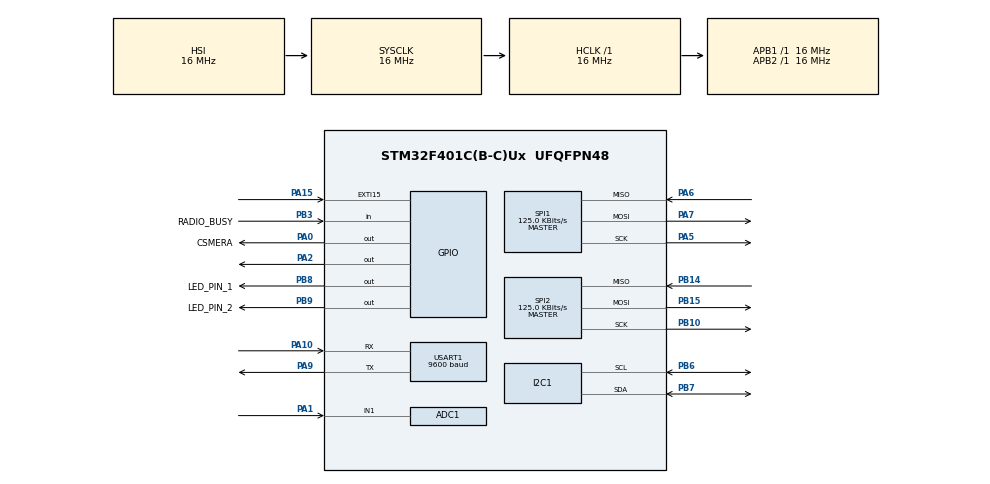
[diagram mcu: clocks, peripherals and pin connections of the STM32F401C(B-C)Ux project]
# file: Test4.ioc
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ADC1.Channel-0\#ChannelRegularConversion=ADC_CHANNEL_1
ADC1.NbrOfConversionFlag=1
ADC1.Rank-0\#ChannelRegularConversion=1
ADC1.SamplingTime-0\#ChannelRegularConversion=ADC_SAMPLETIME_3CYCLES
ADC1.master=1
Mcu.Family=STM32F4
Mcu.Name=STM32F401C(B-C)Ux
Mcu.Package=UFQFPN48
NVIC.EXTI15_10_IRQn=true\:0\:0\:false\:false\:true\:true\:true\:true
NVIC.PriorityGroup=NVIC_PRIORITYGROUP_4
PA0-WKUP.GPIO_Label=CSMERA
PA0-WKUP.PinState=GPIO_PIN_SET
PA0-WKUP.Signal=GPIO_Output
PA1.Signal=ADCx_IN1
PA10.Mode=Asynchronous
PA10.Signal=USART1_RX
PA15.Signal=GPXTI15
PA2.GPIO_ModeDefaultOutputPP=GPIO_MODE_OUTPUT_OD
PA2.GPIO_PuPd=GPIO_NOPULL
PA2.PinState=GPIO_PIN_SET
PA2.Signal=GPIO_Output
PA5.Mode=Full_Duplex_Master
PA5.Signal=SPI1_SCK
PA6.Mode=Full_Duplex_Master
PA6.Signal=SPI1_MISO
PA7.Mode=Full_Duplex_Master
PA7.Signal=SPI1_MOSI
PA9.Mode=Asynchronous
PA9.Signal=USART1_TX
PB10.Mode=Full_Duplex_Master
PB10.Signal=SPI2_SCK
PB14.Mode=Full_Duplex_Master
PB14.Signal=SPI2_MISO
PB15.Mode=Full_Duplex_Master
PB15.Signal=SPI2_MOSI
PB3.GPIO_Label=RADIO_BUSY
PB3.Signal=GPIO_Input
PB6.Mode=I2C
PB6.Signal=I2C1_SCL
PB7.Mode=I2C
PB7.Signal=I2C1_SDA
PB8.GPIO_Label=LED_PIN_1
PB8.Signal=GPIO_Output
PB9.GPIO_Label=LED_PIN_2
PB9.Signal=GPIO_Output
PH0\ -\ OSC_IN.Mode=HSE-External-Oscillator
PH0\ -\ OSC_IN.Signal=RCC_OSC_IN
PH1\ -\ OSC_OUT.Mode=HSE-External-Oscillator
PH1\ -\ OSC_OUT.Signal=RCC_OSC_OUT
ProjectManager.HeapSize=0x400
ProjectManager.StackSize=0x800
ProjectManager.TargetToolchain=STM32CubeIDE
RCC.AHBFreq_Value=16000000
RCC.APB1Freq_Value=16000000
RCC.APB2Freq_Value=16000000
RCC.CortexFreq_Value=16000000
RCC.HSE_VALUE=25000000
RCC.HSI_VALUE=16000000
RCC.LSE_VALUE=32768
RCC.SYSCLKFreq_VALUE=16000000
RCC.VCOOutputFreq_Value=192000000
SH.ADCx_IN1.0=ADC1_IN1,IN1
SPI1.BaudRatePrescaler=SPI_BAUDRATEPRESCALER_128
SPI1.CalculateBaudRate=125.0 KBits/s
SPI1.Direction=SPI_DIRECTION_2LINES
SPI1.Mode=SPI_MODE_MASTER
SPI1.VirtualType=VM_MASTER
SPI2.BaudRatePrescaler=SPI_BAUDRATEPRESCALER_128
SPI2.CalculateBaudRate=125.0 KBits/s
SPI2.Direction=SPI_DIRECTION_2LINES
SPI2.Mode=SPI_MODE_MASTER
SPI2.VirtualType=VM_MASTER
USART1.BaudRate=9600
USART1.VirtualMode=VM_ASYNC
VP_FATFS_VS_Generic.Mode=User_defined
board=custom

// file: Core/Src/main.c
/* USER CODE BEGIN Header */
/**
  ******************************************************************************
  * @file           : main.c
  * @brief          : Main program body
  ******************************************************************************
  */
/* USER CODE END Header */
#include "main.h"
#include "adc.h"
#include "fatfs.h"
#include "i2c.h"
#include "spi.h"
#include "usart.h"
#include "gpio.h"

/* USER CODE BEGIN Includes */
#include "serial_print.h"
#include "mcp23017.h"
#include "bmi088.h"
#include "lis3mdl.h"
#include "bmp388.h"
#include "lora278.h"
#include "dwt_delay.h"
#include "ds18b20.h"
#include "sd_mcp23017.h"
#include "pca9685.h"
#include "servo_control.h"
#include "motor_control.h"
#include "MadgwickAHRS.h"
#include <math.h>
#include <stdio.h>
#include <stdlib.h>
#include <string.h>
#include <stdbool.h>
extern uint8_t LoRa_ReadReg(uint8_t addr);
extern void LoRa_WriteReg(uint8_t addr, uint8_t val);
/* USER CODE END Includes */

/* USER CODE BEGIN PTD */
#pragma pack(push, 1)
typedef struct {
    uint16_t  node_id;
    int16_t  accel_x;
    int16_t  accel_y;
    int16_t  accel_z;
    int16_t  gyro_x;
    int16_t  gyro_y;
    int16_t  gyro_z;
    int16_t  mag_x;
    int16_t  mag_y;
    int16_t  mag_z;
    int16_t  altitude;
    int16_t  temperature;
    uint16_t  photo;
    uint8_t  state_flags;
    uint8_t  checksum;
} TelemetryPacket_t;
#pragma pack(pop)

#pragma pack(push, 1)
typedef struct {
    uint32_t magic;
    float    ideal_pitch;

    // Калибровка магнитометра (Hard & Soft Iron)
    float    mag_offset[3];
    float    mag_scale[3];

    // Калибровка гироскопа
    float    gyro_offset[3];

    // Коэффициенты ПИД-регулятора
    float    kp_r, ki_r, kd_r; // Roll
    float    kp_p, ki_p, kd_p; // Pitch
    float    kp_y, ki_y, kd_y; // Yaw
} GliderConfig_t;
#pragma pack(pop)

#pragma pack(push, 1)
typedef struct {
    uint16_t target_id;
    uint8_t  cmd_id;
    int16_t  param;
    uint8_t  checksum;
} CommandPacket_t;
#pragma pack(pop)

// Значения, которые запишутся на SD, если файла config.dat еще нет
GliderConfig_t glider_cfg = {
    .magic = 0xDEADBEEF,
    .ideal_pitch = -5.0f,
    .mag_offset = {0.0f, 0.0f, 0.0f},
    .mag_scale  = {1.0f, 1.0f, 1.0f},
    .gyro_offset = {0.0f, 0.0f, 0.0f},
    .kp_r = 1.0f, .ki_r = 0.01f, .kd_r = 0.5f,
    .kp_p = 1.0f, .ki_p = 0.01f, .kd_p = 0.5f,
    .kp_y = 1.0f, .ki_y = 0.01f, .kd_y = 0.5f
};
/* USER CODE END PTD */

/* USER CODE BEGIN PV */
volatile bool _packetReady = false;
volatile int _pendingLength = 0;
extern ADC_HandleTypeDef hadc1;

// ID вашего устройства
uint16_t MY_NODE_ID = 0xBBB9;
bool bmi_ok = false;
bool lis_ok = false;
bool bmp_ok = false;
bool lora_ready = false; // Флаг готовности LoRa для логов
bool apogee_reached = false;

// Глобальный буфер для хранения самых свежих данных
TelemetryPacket_t current_pkt;
Servo_HandleTypeDef myServo1;
Servo_HandleTypeDef myServo2;

volatile bool lora_irq_triggered = false;
Motor_HandleTypeDef motorE;
Motor_HandleTypeDef motorF;
// Базовое давление на земле для планера (по умолчанию стандартное 1013.25 гПа)
float ground_pressure = 1013.25f;

// Этапы полета
typedef enum {
    STATE_IDLE = 0,      // На столе (Безопасный режим, автоматика отключена)
    STATE_WAIT = 1,      // В ракете (Взведен, ждет выброса)
    STATE_DROP = 2,      // Выпадание
    STATE_RECOVERY = 3,  // Выход из падения
    STATE_GLIDE = 4,     // Планирование
    STATE_PARACHUTE = 5  // Раскрытие парашюта
} State_t;

State_t current_state = STATE_IDLE;
uint32_t stage_timer = 0; // Таймер для отсчета времени стадий

// Настройка порога фоторезистора
#define PHOTO_THRESHOLD 1000

float target_roll = 0, target_pitch = -5.0f, target_yaw = 0;
float prev_err_roll = 0, prev_err_pitch = 0, prev_err_yaw = 0;
float integral_roll = 0, integral_pitch = 0, integral_yaw = 0;

float kp_r = 1.0f, ki_r = 0.01f, kd_r = 0.5f;
float kp_p = 1.0f, ki_p = 0.01f, kd_p = 0.5f;
float kp_y = 1.0f, ki_y = 0.01f, kd_y = 0.5f;

float roll = 0, pitch = 0, yaw = 0;
uint32_t motorE_stop_time = 0;
bool motorE_active = false;
uint32_t motorF_stop_time = 0;
bool motorF_active = false;
/* USER CODE END PV */

void SystemClock_Config(void);

/* USER CODE BEGIN 0 */
void OnLoRaPacketReceived(int packetSize) {
    _pendingLength = packetSize;
    _packetReady = true;
}

/* Функции логирования */
void Send_Log(const char* msg) {
    Serial_Printf(&huart1, "%s\r\n", msg);
    if (lora_ready) {
        uint8_t lora_buf[128];
        uint16_t* id_ptr = (uint16_t*)lora_buf;
        *id_ptr = MY_NODE_ID;
        int len = snprintf((char*)(lora_buf + 2), sizeof(lora_buf) - 2, "LOG: %s", msg);
        LoRa_BeginPacket(0);
        LoRa_Write(lora_buf, len + 2);
        LoRa_EndPacket(0);
        LoRa_Receive(0);
        HAL_Delay(50);
    }
}
/* USER CODE END 0 */

int main(void)
{

  /* MCU Configuration--------------------------------------------------------*/

  /* Reset of all peripherals, Initializes the Flash interface and the Systick. */
  HAL_Init();

  /* Configure the system clock */
  SystemClock_Config();

  /* Initialize all configured peripherals */
  MX_GPIO_Init();
  MX_ADC1_Init();
  MX_I2C1_Init();
  MX_SPI1_Init();
  MX_SPI2_Init();
  MX_USART1_UART_Init();
  MX_FATFS_Init();
  /* USER CODE BEGIN 2 */
  DWT_Init();
  HAL_GPIO_WritePin(LED_PIN_1_GPIO_Port, LED_PIN_1_Pin, 1);
  HAL_GPIO_WritePin(GPIOA, GPIO_PIN_0, GPIO_PIN_SET); // Камера по умолчанию
  Serial_Printf(&huart1, "\r\n--- Sensors & LoRa INIT ---\r\n");

  if (MCP23017_Init() != HAL_OK) {
	  Serial_Printf(&huart1, "MCP23017 Expander NOT FOUND!\r\n");
  } else {
	  Serial_Printf(&huart1, "MCP23017 OK\r\n");
  }
  MCP23017_WriteAll(0xFFFF);
  PCA9685_Init(50);
  Motor_Init(&motorE, 11, 12);
  Motor_Init(&motorF, 14, 13);

reinit:
  LoRa_Init();
  if (!LoRa_Begin(441000000)) {
	  Serial_Printf(&huart1, "LoRa init failed!\r\n");
	  MCP23017_WritePin(LORA_RST_PIN_MCP, 0);
	  HAL_Delay(500);
	  MCP23017_WritePin(LORA_RST_PIN_MCP, 1);
	  goto reinit;
  } else {
	  LoRa_SetSpreadingFactor(7);
	  LoRa_SetSignalBandwidth(250000);
	  LoRa_SetCodingRate4(5);
	  LoRa_EnableCrc();
	  LoRa_SetSyncWord(0x12);
	  LoRa_SetTxPower(15, 1);
	  LoRa_Receive(0);
	  lora_ready = true;
	  Send_Log("LoRa Ready!");
  }

  if (HAL_I2C_IsDeviceReady(&hi2c1, PCA9685_I2C_ADDR << 1, 3, 100) == HAL_OK) {
	  Send_Log("PCA9685 is online!");
  } else {
	  Send_Log("ERROR: PCA9685 NOT found!");
  }

  Servo_Init(&myServo1, 7);
  Servo_Init(&myServo2, 4);

  if (BMI088_Init(&hspi1) != HAL_OK) {
	  Send_Log("BMI088 init failed!");
	  bmi_ok = false;
  } else {
	  Send_Log("BMI088 OK. Ready.");
	  bmi_ok = true;
  }

  if (LIS3MDL_Init() != 1) {
	  Send_Log("LIS3MDL init failed!");
	  lis_ok = false;
  } else {
	  Send_Log("LIS3MDL OK");
	  lis_ok = true;
  }

  if (BMP388_Init() != BMP388_OK) {
	  Send_Log("BMP388 init failed!");
	  bmp_ok = false;
  } else {
	  Send_Log("BMP388 OK");
	  bmp_ok = true;
  }

  if (SD_MCP_Init(&hspi2) == 0) {
  	Send_Log("[MAIN] SD карта готова.");

  	GliderConfig_t temp_cfg;
  	if (SD_MCP_LoadConfig("0:/config.dat", &temp_cfg, sizeof(temp_cfg)) == 0 && temp_cfg.magic == 0xDEADBEEF) {
  		glider_cfg = temp_cfg;
  		Send_Log("[MAIN] Config loaded from SD!");
  	} else {
  		Send_Log("[MAIN] Config old/missing! Creating default...");
  		SD_MCP_SaveConfig("0:/config.dat", &glider_cfg, sizeof(glider_cfg));
  	}

  	if (glider_cfg.mag_scale[0] == 0.0f) glider_cfg.mag_scale[0] = 1.0f;
  	if (glider_cfg.mag_scale[1] == 0.0f) glider_cfg.mag_scale[1] = 1.0f;
  	if (glider_cfg.mag_scale[2] == 0.0f) glider_cfg.mag_scale[2] = 1.0f;

  	LIS3MDL_SetCalibration(
  		glider_cfg.mag_offset[0], glider_cfg.mag_offset[1], glider_cfg.mag_offset[2],
  		glider_cfg.mag_scale[0],  glider_cfg.mag_scale[1],  glider_cfg.mag_scale[2]
  	);

  	BMI088_SetGyroCalibration(
  		glider_cfg.gyro_offset[0],
  		glider_cfg.gyro_offset[1],
  		glider_cfg.gyro_offset[2]
  	);

  	target_pitch = glider_cfg.ideal_pitch;
  	kp_r = glider_cfg.kp_r; ki_r = glider_cfg.ki_r; kd_r = glider_cfg.kd_r;
  	kp_p = glider_cfg.kp_p; ki_p = glider_cfg.ki_p; kd_p = glider_cfg.kd_p;
  	kp_y = glider_cfg.kp_y; ki_y = glider_cfg.ki_y; kd_y = glider_cfg.kd_y;

  	if (SD_MCP_OpenFile("0:/data.csv") == 0) {
  		Send_Log("[MAIN] Файл data.csv открыт для записи.");
  	} else {
  		Send_Log("[MAIN] Ошибка открытия data.csv!");
  	}
  } else {
  	Send_Log("[MAIN] Критическая ошибка инициализации SD.");
  }

  HAL_ADC_Start(&hadc1);

  uint32_t last_poll_tick = HAL_GetTick();
  uint32_t last_sd_tick   = HAL_GetTick();
  uint32_t last_tx_tick   = HAL_GetTick()-50;

  uint32_t ds18b20_timer = 0;
  uint8_t ds18b20_state = 0;
  float current_temp_ds = 0.0f;
  uint16_t photo_val = 0;

  memset(&current_pkt, 0, sizeof(current_pkt));
  current_pkt.node_id = MY_NODE_ID;

  /* USER CODE END 2 */

  /* Infinite loop */
  /* USER CODE BEGIN WHILE */
  BMI088_Raw_t raw;
  BMI088_Physical_t phys;
  uint32_t photo_trigger_time = 0;
  bool photo_is_light = false;
  bool igniter_active = false;
  Send_Log("INIT DONE. Entering main loop...");

  while (1) {
		// --- 1. ПРЯМОЙ ОПРОС РЕГИСТРОВ SX1278 (КОМАНДЫ) ---
		uint8_t irqFlags = LoRa_ReadReg(0x12);
		if (irqFlags & 0x40) {
			LoRa_WriteReg(0x12, irqFlags);
			if ((irqFlags & 0x20) == 0) {
				int pSize = LoRa_ReadReg(0x13);
				if (pSize == sizeof(CommandPacket_t)) {
					LoRa_WriteReg(0x0D, LoRa_ReadReg(0x10));
					CommandPacket_t rx_cmd;
					uint8_t *ptr = (uint8_t*)&rx_cmd;
					for (int i = 0; i < sizeof(CommandPacket_t); i++) ptr[i] = LoRa_ReadReg(0x00);

					if (rx_cmd.target_id == MY_NODE_ID) {
						uint8_t calc_crc = 0;
						for (int i = 0; i < sizeof(CommandPacket_t) - 1; i++) calc_crc ^= ptr[i];

						if (calc_crc == rx_cmd.checksum) {
							char cmd_log[64];
							snprintf(cmd_log, sizeof(cmd_log), "RX CMD | ID: 0x%02X, Param: %d", rx_cmd.cmd_id, rx_cmd.param);
							Send_Log(cmd_log);

							switch (rx_cmd.cmd_id) {
								case 0x10: Servo_SetAngle(&myServo1, rx_cmd.param); break;
								case 0x11: Servo_SetAngle(&myServo2, rx_cmd.param); break;
								case 0x16:
									Servo_SetAngle(&myServo1, rx_cmd.param);
									// Зеркалим угол для второй сервы относительно 90 градусов
									Servo_SetAngle(&myServo2, 180 - rx_cmd.param);
									break;

								// --- НОВЫЕ КОМАНДЫ ПЕРЕФЕРИИ ---

								case 0x13: // Ручное управление мотором крыльев (Motor F)
									{
										int16_t time_ms = rx_cmd.param;
										if (time_ms > 0) {
											Motor_SetSpeed(&motorF, 100); // Полная мощность
											motorF_stop_time = HAL_GetTick() + time_ms;
											motorF_active = true;
											Send_Log("Motor F: Deploy started");
										}
										else {
											Motor_SetSpeed(&motorF, 0);
											motorF_active = false;
											Send_Log("Motor F: Stopped");
										}
									}
									break;

								case 0x14: // Для стиков геймпада (управление скоростью)
									Motor_SetSpeed(&motorE, rx_cmd.param);
									break;

								case 0x15: // Для кнопок интерфейса (асинхронный импульс по времени)
								{
									int16_t time_ms = rx_cmd.param;
									if (time_ms > 0) {
										Motor_SetSpeed(&motorE, 100);
										motorE_stop_time = HAL_GetTick() + time_ms;
										motorE_active = true;
										Send_Log("Motor E: Right started");
									}
									else if (time_ms < 0) {
										Motor_SetSpeed(&motorE, -100);
										motorE_stop_time = HAL_GetTick() + (-time_ms);
										motorE_active = true;
										Send_Log("Motor E: Left started");
									}
									else {
										Motor_SetSpeed(&motorE, 0);
										motorE_active = false;
									}
								}
								break;

								// Калибровки датчиков
								case 0x30:
									Send_Log("Calibrating Gyro (Keep glider STILL!)...");
									BMI088_CalibrateGyro(&hspi1, 200);
									BMI088_GetGyroCalibration(&glider_cfg.gyro_offset[0], &glider_cfg.gyro_offset[1], &glider_cfg.gyro_offset[2]);
									if (SD_MCP_SaveConfig("0:/config.dat", &glider_cfg, sizeof(glider_cfg)) == 0) {
										Send_Log("Gyro Calibrated & Saved to SD!");
									} else {
										Send_Log("Gyro Calibrated, but SD SAVE FAILED!");
									}
									break;
								case 0x31: // LIS3MDL (Магнитометр)
									Send_Log("Calibrating LIS3MDL Mag (Rotate glider!)...");
									LIS3MDL_Calibrate();
									LIS3MDL_GetCalibration(&glider_cfg.mag_offset[0], &glider_cfg.mag_offset[1], &glider_cfg.mag_offset[2],
														   &glider_cfg.mag_scale[0],  &glider_cfg.mag_scale[1],  &glider_cfg.mag_scale[2]);
									if (SD_MCP_SaveConfig("0:/config.dat", &glider_cfg, sizeof(glider_cfg)) == 0) {
										Send_Log("Mag Calibrated & Saved to SD!");
									} else {
										Send_Log("Mag Calibrated, but SD SAVE FAILED!");
									}
									break;
								case 0x33: BMI088_CalibrateAccel(&hspi1, 200); Send_Log("Accel Calibrated"); break;
								case 0x32: {
									float t, p, p_sum = 0;
									for(int i=0; i<10; i++) { BMP388_Read(&t, &p); p_sum+=p; HAL_Delay(50); }
									ground_pressure = p_sum/10.0f;
									Send_Log("Altitude Zeroed");
									break;
								}
								case 0x50:
									glider_cfg.ideal_pitch = (float)rx_cmd.param;
									target_pitch = glider_cfg.ideal_pitch;
									if (SD_MCP_SaveConfig("0:/config.dat", &glider_cfg, sizeof(glider_cfg)) == 0) {
										char cfg_log[64];
										snprintf(cfg_log, sizeof(cfg_log), "Pitch updated to %d and saved!", rx_cmd.param);
										Send_Log(cfg_log);
									}
									break;
								case 0x60: case 0x61: case 0x62:
								case 0x63: case 0x64: case 0x65:
								case 0x66: case 0x67: case 0x68:
								{
									float val = rx_cmd.param / 1000.0f;
									if (rx_cmd.cmd_id == 0x60) { kp_r = val; glider_cfg.kp_r = val; }
									else if (rx_cmd.cmd_id == 0x61) { ki_r = val; glider_cfg.ki_r = val; }
									else if (rx_cmd.cmd_id == 0x62) { kd_r = val; glider_cfg.kd_r = val; }
									else if (rx_cmd.cmd_id == 0x63) { kp_p = val; glider_cfg.kp_p = val; }
									else if (rx_cmd.cmd_id == 0x64) { ki_p = val; glider_cfg.ki_p = val; }
									else if (rx_cmd.cmd_id == 0x65) { kd_p = val; glider_cfg.kd_p = val; }
									else if (rx_cmd.cmd_id == 0x66) { kp_y = val; glider_cfg.kp_y = val; }
									else if (rx_cmd.cmd_id == 0x67) { ki_y = val; glider_cfg.ki_y = val; }
									else if (rx_cmd.cmd_id == 0x68) { kd_y = val; glider_cfg.kd_y = val; }

									if (SD_MCP_SaveConfig("0:/config.dat", &glider_cfg, sizeof(glider_cfg)) == 0) {
										char pid_log[64];
										snprintf(pid_log, sizeof(pid_log), "PID CMD 0x%02X saved! New Val: %d", rx_cmd.cmd_id, rx_cmd.param);
										Send_Log(pid_log);
									} else {
										Send_Log("PID updated, but SD SAVE FAILED!");
									}
								}
								break;

								case 0x40: current_state = STATE_IDLE; Send_Log("Forced: IDLE (Safe Mode)"); break;
								case 0x41: current_state = STATE_WAIT; apogee_reached = false; Send_Log("Forced: ARMED (Wait in rocket)"); break;
								case 0x42: current_state = STATE_DROP; stage_timer = HAL_GetTick(); Send_Log("Forced: DROP"); break;
								case 0x43: current_state = STATE_RECOVERY; stage_timer = HAL_GetTick(); Send_Log("Forced: RECOVERY"); break;
								case 0x44: current_state = STATE_GLIDE; Send_Log("Forced: GLIDE"); break;
								case 0x45:
									current_state = STATE_PARACHUTE;
									stage_timer = HAL_GetTick();
									igniter_active = false;
									Send_Log("Forced: PARACHUTE SEQUENCE STARTED!");
									break;
								case 0x70: target_roll = (float)rx_cmd.param; Send_Log("Live Target Roll updated!"); break;
								case 0x71: target_pitch = (float)rx_cmd.param; Send_Log("Live Target Pitch updated!"); break;
								case 0x72: target_yaw = (float)rx_cmd.param; Send_Log("Live Target Yaw updated!"); break;
							}
						}
					}
				}
			}
		}

		if (ds18b20_state == 0) {
			if (DS18B20_Start()) {
				DS18B20_WriteByte(0xCC);
				DS18B20_WriteByte(0x44);
				ds18b20_timer = HAL_GetTick();
				ds18b20_state = 1;
			}
		}
		else if (ds18b20_state == 1) {
			if (HAL_GetTick() - ds18b20_timer >= 750) {
				if (DS18B20_Start()) {
					DS18B20_WriteByte(0xCC);
					DS18B20_WriteByte(0xBE);
					uint8_t temp_lsb = DS18B20_ReadByte();
					uint8_t temp_msb = DS18B20_ReadByte();
					int16_t temp_raw = (temp_msb << 8) | temp_lsb;
					current_temp_ds = temp_raw / 16.0f;
				}
				ds18b20_state = 0;
			}
		}

		// Асинхронная остановка мотора E
		if (motorE_active && (HAL_GetTick() >= motorE_stop_time)) {
			Motor_SetSpeed(&motorE, 0);
			motorE_active = false;
			Send_Log("Motor E: Time pulse completed");
		}

		if (motorF_active && (HAL_GetTick() >= motorF_stop_time)) {
			Motor_SetSpeed(&motorF, 0);
			motorF_active = false;
			Send_Log("Motor F: Deploy completed automatically");
		}

		if (HAL_GetTick() - last_poll_tick >= 20) {
			last_poll_tick = HAL_GetTick();
			current_pkt.state_flags = 0;
			float dt = 0.02f;

			HAL_ADC_Start(&hadc1);
			if (HAL_ADC_PollForConversion(&hadc1, 10) == HAL_OK) photo_val = HAL_ADC_GetValue(&hadc1);
			current_pkt.photo = photo_val;

			if (bmi_ok && (BMI088_ReadRaw(&hspi1, &raw) == HAL_OK)) {
				BMI088_ToPhysical(&raw, &phys);
				current_pkt.accel_x = (int16_t)(phys.Accel_X * 100);
				current_pkt.accel_y = (int16_t)(phys.Accel_Y * 100);
				current_pkt.accel_z = (int16_t)(phys.Accel_Z * 100);
				current_pkt.gyro_x  = (int16_t)(phys.Gyro_X * 100);
				current_pkt.gyro_y  = (int16_t)(phys.Gyro_Y * 100);
				current_pkt.gyro_z  = (int16_t)(phys.Gyro_Z * 100);
				current_pkt.state_flags |= (1 << 0);
			}

			if (lis_ok) {
				LIS3MDL_Read_Mag(&current_pkt.mag_x, &current_pkt.mag_y, &current_pkt.mag_z);
				current_pkt.state_flags |= (1 << 1);
			}

			if (bmp_ok) {
				float bmp_temp, bmp_press;
				if (BMP388_Read(&bmp_temp, &bmp_press) == BMP388_OK) {
					float rel_alt = BMP388_Altitude(ground_pressure, bmp_press);
					current_pkt.altitude = (int16_t)(rel_alt * 10.0f);
					current_pkt.temperature = (int16_t)(bmp_temp * 100);
					current_pkt.state_flags |= (1 << 2);
				}
			}

			if (current_temp_ds != 0.0f) {
				current_pkt.temperature = (int16_t)(current_temp_ds * 100);
				current_pkt.state_flags |= (1 << 3);
			}

			current_pkt.state_flags |= (current_state << 4);

			if (current_pkt.altitude > 2500) {
				apogee_reached = true;
			}

			if (current_state == STATE_WAIT) {
				apogee_reached = false;
				if (photo_val > PHOTO_THRESHOLD) {
					if (!photo_is_light) {
						photo_is_light = true;
						photo_trigger_time = HAL_GetTick();
					} else if (HAL_GetTick() - photo_trigger_time >= 2000) {
						current_state = STATE_DROP;
						stage_timer = HAL_GetTick();
						photo_is_light = false;
						Send_Log(">>> DROP DETECTED (2s delay)! <<<");
					}
				} else {
					photo_is_light = false;
				}
			}

			if (current_state == STATE_DROP || current_state == STATE_RECOVERY || current_state == STATE_GLIDE) {
				if (apogee_reached && current_pkt.altitude <= 2000) {
					current_state = STATE_PARACHUTE;
					stage_timer = HAL_GetTick();
					igniter_active = false;
					PCA9685_SetFullOn(15);
					Send_Log(">>> AUTO PARACHUTE SEQUENCE STARTED! <<<");
				}
			}

			static State_t prev_state = 255;
			bool state_just_changed = (current_state != prev_state);
			prev_state = current_state;

			if (current_state == STATE_DROP) {
				if (state_just_changed) {
					Servo_SetAngle(&myServo1, 90);
					Servo_SetAngle(&myServo2, 90);
					//HAL_GPIO_WritePin(GPIOA, GPIO_PIN_0, GPIO_PIN_RESET);
					Send_Log("APOGEE DROP: Pin A0 set to LOW");
				}

				static bool a0_restored = false;
				if (state_just_changed) a0_restored = false;

				if (!a0_restored && (HAL_GetTick() - stage_timer >= 1500)) {
					//HAL_GPIO_WritePin(GPIOA, GPIO_PIN_0, GPIO_PIN_SET);
					a0_restored = true;
					Send_Log("APOGEE DROP: Pin A0 restored to HIGH");
				}

				if (HAL_GetTick() - stage_timer >= 2000) {
					current_state = STATE_RECOVERY;
					stage_timer = HAL_GetTick();
					Send_Log(">>> 2s DELAY OVER. PULL UP! <<<");
				}
			}
			else if (current_state == STATE_RECOVERY || current_state == STATE_GLIDE) {
				if (current_state == STATE_RECOVERY) {
					if (state_just_changed) {
						Motor_SetSpeed(&motorF, 100);
						Send_Log("RECOVERY: Unfolding wings (Motor F ON)");
					}

					if (HAL_GetTick() - stage_timer >= 850) {
						Motor_Brake(&motorF);
					}

					target_pitch = 15.0f;

					if (HAL_GetTick() - stage_timer >= 3000) {
						current_state = STATE_GLIDE;
						Motor_Coast(&motorF);
						Send_Log(">>> RECOVERY OVER. GLIDING <<<");
					}
				}

				float accel_x = current_pkt.accel_x / 100.0f;
				float accel_y = current_pkt.accel_y / 100.0f;
				float accel_z = current_pkt.accel_z / 100.0f;
				float gyro_x = current_pkt.gyro_x / 100.0f;
				float gyro_y = current_pkt.gyro_y / 100.0f;
				float gyro_z = current_pkt.gyro_z / 100.0f;

				MadgwickAHRSupdateIMU(gyro_x, gyro_y, gyro_z, accel_x, accel_y, accel_z);

				roll  = atan2f(q0*q1 + q2*q3, 0.5f - q1*q1 - q2*q2) * 57.29578f;
				pitch = asinf(-2.0f * (q1*q3 - q0*q2)) * 57.29578f;
				yaw   = atan2f(2.0f * (q1*q2 + q0*q3), q0*q0 + q1*q1 - q2*q2 - q3*q3) * 57.29578f;

				// Roll PID
				float err_r = target_roll - roll;
				integral_roll += err_r * dt;
				if(integral_roll > 20.0f) integral_roll = 20.0f; else if(integral_roll < -20.0f) integral_roll = -20.0f;
				float out_r = (kp_r * err_r) + (ki_r * integral_roll) + (kd_r * ((err_r - prev_err_roll)/dt));
				prev_err_roll = err_r;

				// Pitch PID
				float err_p = target_pitch - pitch;
				integral_pitch += err_p * dt;
				if(integral_pitch > 20.0f) integral_pitch = 20.0f; else if(integral_pitch < -20.0f) integral_pitch = -20.0f;
				float out_p = (kp_p * err_p) + (ki_p * integral_pitch) + (kd_p * ((err_p - prev_err_pitch)/dt));
				prev_err_pitch = err_p;

				// Yaw PID
				float err_y = target_yaw - yaw;
				integral_yaw += err_y * dt;
				if(integral_yaw > 20.0f) integral_yaw = 20.0f; else if(integral_yaw < -20.0f) integral_yaw = -20.0f;
				float out_y = (kp_y * err_y) + (ki_y * integral_yaw) + (kd_y * ((err_y - prev_err_yaw)/dt));
				prev_err_yaw = err_y;

				// --- 5. МИКШИРОВАНИЕ И УПРАВЛЕНИЕ ---
				int servo1_val = 90 + (int)(out_p + out_r);
				if (servo1_val > 135) servo1_val = 135; else if (servo1_val < 45) servo1_val = 45;

				int servo2_val = 90 + (int)(-out_p - out_r);
				if (servo2_val > 135) servo2_val = 135; else if (servo2_val < 45) servo2_val = 45;

				// АНТИДРЕБЕЗГ (Мертвая зона 2 градуса)
				static int prev_s1 = -999;
				static int prev_s2 = -999;

				if (abs(servo1_val - prev_s1) >= 2) {
				    Servo_SetAngle(&myServo1, servo1_val);
				    prev_s1 = servo1_val;
				}
				if (abs(servo2_val - prev_s2) >= 2) {
				    Servo_SetAngle(&myServo2, servo2_val);
				    prev_s2 = servo2_val;
				}

				// Мотор E (Рыскание)
				Motor_SetSpeed(&motorE, (int16_t)out_y);
			}
			else if (current_state == STATE_PARACHUTE) {
				if (state_just_changed) {
					Servo_SetAngle(&myServo1, 90);
					Servo_SetAngle(&myServo2, 90);
					Motor_SetSpeed(&motorE, 0);
					Send_Log("PARACHUTE 1/3: Servos deployed. Waiting 500ms...");
				}

				if (!igniter_active && (HAL_GetTick() - stage_timer >= 500) && (HAL_GetTick() - stage_timer < 2000)) {
					PCA9685_SetFullOn(15);
					igniter_active = true;
					Send_Log("PARACHUTE 2/3: IGNITER ON!");
				}

				if (igniter_active && (HAL_GetTick() - stage_timer >= 2000)) {
					PCA9685_SetFullOff(15);
					igniter_active = false;
					Send_Log("PARACHUTE 3/3: IGNITER OFF (Timeout). SAFE!");
				}
			}
		}

	  if (HAL_GetTick() - last_sd_tick >= 100) {
		  last_sd_tick = HAL_GetTick();
		  char sd_buffer[200];
		  snprintf(sd_buffer, sizeof(sd_buffer), "%X,%d,%d,%d,%d,%d,%d,%d,%d,%d,%d,%d,%u,%u\n",
				 current_pkt.node_id,
				 current_pkt.accel_x, current_pkt.accel_y, current_pkt.accel_z,
				 current_pkt.gyro_x, current_pkt.gyro_y, current_pkt.gyro_z,
				 current_pkt.mag_x, current_pkt.mag_y, current_pkt.mag_z,
				 current_pkt.altitude, current_pkt.temperature, current_pkt.photo, current_pkt.state_flags);
		  SD_MCP_WriteFile("0:/data.csv", sd_buffer);
	  }

	  if (HAL_GetTick() - last_tx_tick >= 100) {
		  if (LoRa_ReadReg(0x12) & 0x40)
			  continue;
		  last_tx_tick = HAL_GetTick();
		  uint8_t calc_crc = 0;
		  uint8_t *ptr = (uint8_t*)&current_pkt;
		  for (int i = 0; i < sizeof(TelemetryPacket_t) - 1; i++) {
			  calc_crc ^= ptr[i];
		  }
		  current_pkt.checksum = calc_crc;

		  Serial_Printf(&huart1, "TX Node:%X | Acc:%d,%d,%d | Gyr:%d,%d,%d | Mag:%d,%d,%d | Alt:%d | Temp:%d | Photo:%u | Flags:0x%02X | CRC:0x%02X\r\n",
			   current_pkt.node_id,
			   current_pkt.accel_x, current_pkt.accel_y, current_pkt.accel_z,
			   current_pkt.gyro_x, current_pkt.gyro_y, current_pkt.gyro_z,
			   current_pkt.mag_x, current_pkt.mag_y, current_pkt.mag_z,
			   current_pkt.altitude, current_pkt.temperature, current_pkt.photo, current_pkt.state_flags, current_pkt.checksum);

		  LoRa_BeginPacket(0);
		  LoRa_Write((uint8_t*)&current_pkt, sizeof(TelemetryPacket_t));
		  LoRa_EndPacket(0);
		  LoRa_Receive(0);
	  }
    /* USER CODE END WHILE */

  }
}

void SystemClock_Config(void)
{
  RCC_OscInitTypeDef RCC_OscInitStruct = {0};
  RCC_ClkInitTypeDef RCC_ClkInitStruct = {0};

  /** Configure the main internal regulator output voltage
  */
  __HAL_RCC_PWR_CLK_ENABLE();
  __HAL_PWR_VOLTAGESCALING_CONFIG(PWR_REGULATOR_VOLTAGE_SCALE2);

  /** Initializes the RCC Oscillators according to the specified parameters
  * in the RCC_OscInitTypeDef structure.
  */
  RCC_OscInitStruct.OscillatorType = RCC_OSCILLATORTYPE_HSI;
  RCC_OscInitStruct.HSIState = RCC_HSI_ON;
  RCC_OscInitStruct.HSICalibrationValue = RCC_HSICALIBRATION_DEFAULT;
  RCC_OscInitStruct.PLL.PLLState = RCC_PLL_NONE;
  if (HAL_RCC_OscConfig(&RCC_OscInitStruct) != HAL_OK)
  {
    Error_Handler();
  }

  /** Initializes the CPU, AHB and APB buses clocks
  */
  RCC_ClkInitStruct.ClockType = RCC_CLOCKTYPE_HCLK|RCC_CLOCKTYPE_SYSCLK
                              |RCC_CLOCKTYPE_PCLK1|RCC_CLOCKTYPE_PCLK2;
  RCC_ClkInitStruct.SYSCLKSource = RCC_SYSCLKSOURCE_HSI;
  RCC_ClkInitStruct.AHBCLKDivider = RCC_SYSCLK_DIV1;
  RCC_ClkInitStruct.APB1CLKDivider = RCC_HCLK_DIV1;
  RCC_ClkInitStruct.APB2CLKDivider = RCC_HCLK_DIV1;

  if (HAL_RCC_ClockConfig(&RCC_ClkInitStruct, FLASH_LATENCY_0) != HAL_OK)
  {
    Error_Handler();
  }
}

void Error_Handler(void)
{
  __disable_irq();
  while (1)
  {
  }
}
